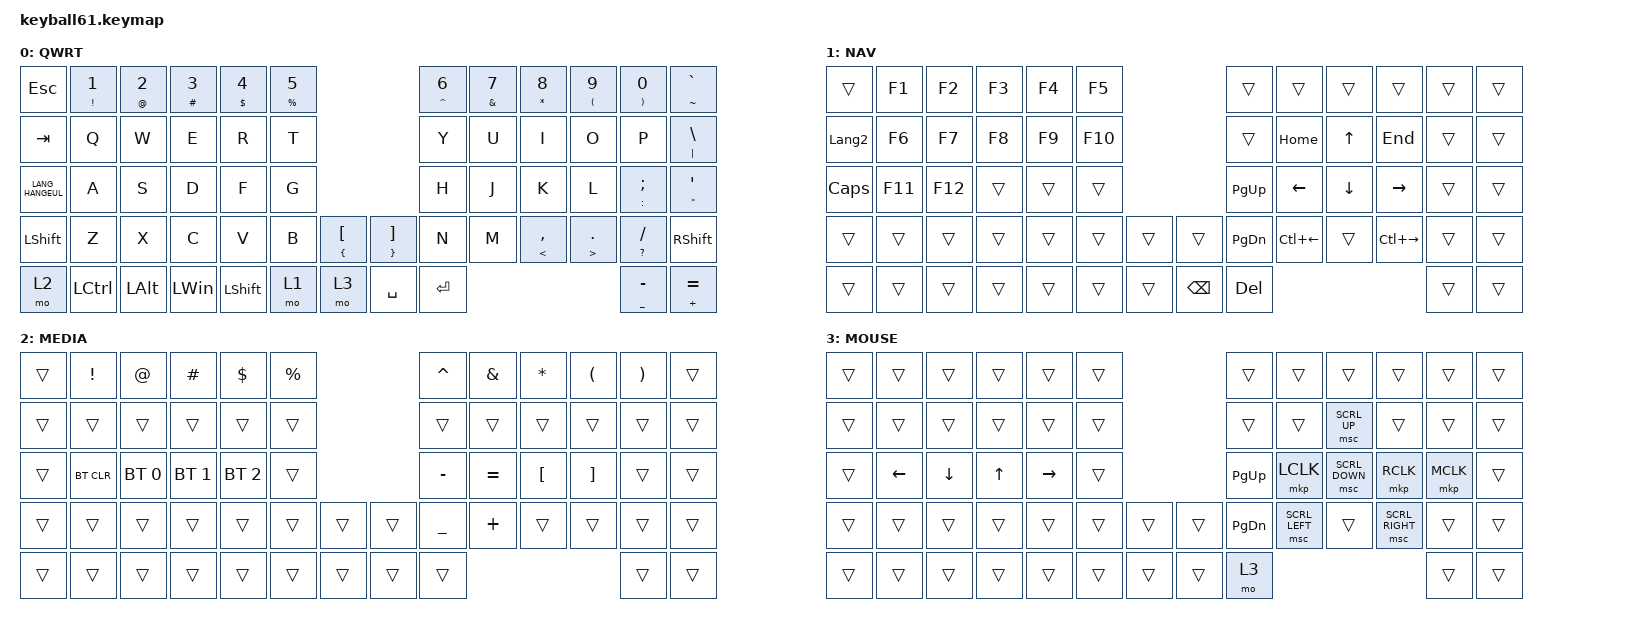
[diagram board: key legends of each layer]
#define DEFAULT 0
#define NAV     1
#define MEDIA   2
#define MOUSE   3

#include <behaviors/mouse_keys.dtsi>
#include <dt-bindings/zmk/mouse.h>
#include <behaviors.dtsi>
#include <dt-bindings/zmk/bt.h>
#include <dt-bindings/zmk/keys.h>
#include <dt-bindings/zmk/pointing.h>

&lt {
    tapping-term-ms = <240>;
    flavor = "balanced";
    quick-tap-ms = <150>;
};

&mt {
    tapping-term-ms = <200>;
    flavor = "tap-preferred";
    quick-tap-ms = <150>;
};

/ {
    combos {
        compatible = "zmk,combos";

        python {
            bindings = <&python>;
            key-positions = <22 18>;
        };

        pymanage {
            bindings = <&pymanage>;
            key-positions = <22 45>;
        };

        make_migrations {
            bindings = <&make_migrations>;
            key-positions = <45 29>;
        };

        run_migrate {
            bindings = <&run_migration>;
            key-positions = <45 29 16>;
        };

        runserver {
            bindings = <&runserver>;
            key-positions = <16 26>;
        };

        restart_server {
            bindings = <&restart_server>;
            key-positions = <16 17 26>;
        };

        toggle_lang {
            bindings = <&kp LANG_HANGEUL>;
            key-positions = <59 60>;
        };
    };

    macros {
        python: python {
            compatible = "zmk,behavior-macro";
            #binding-cells = <0>;
            bindings = <&kp P &kp Y &kp T &kp H &kp O &kp N &kp SPACE>;
            label = "PYTHON";
        };

        pymanage: pymanage {
            compatible = "zmk,behavior-macro";
            #binding-cells = <0>;
            bindings = <&kp P &kp Y &kp T &kp H &kp O &kp N &kp SPACE &kp M &kp A &kp N &kp A &kp G &kp E &kp DOT &kp P &kp Y &kp SPACE>;
            label = "PYMANAGE";
        };

        make_migrations: make_migrations {
            compatible = "zmk,behavior-macro";
            #binding-cells = <0>;
            bindings = <&kp P &kp Y &kp T &kp H &kp O &kp N &kp SPACE &kp M &kp A &kp N &kp A &kp G &kp E &kp DOT &kp P &kp Y &kp SPACE &kp M &kp A &kp K &kp E &kp M &kp I &kp G &kp R &kp A &kp T &kp I &kp O &kp N &kp S>;
            label = "MAKE_MIGRATIONS";
        };

        run_migration: run_migration {
            compatible = "zmk,behavior-macro";
            #binding-cells = <0>;
            bindings = <&kp P &kp Y &kp T &kp H &kp O &kp N &kp SPACE &kp M &kp A &kp N &kp A &kp G &kp E &kp DOT &kp P &kp Y &kp SPACE &kp M &kp I &kp G &kp R &kp A &kp T &kp E>;
            label = "RUN_MIGRATION";
        };

        runserver: runserver {
            compatible = "zmk,behavior-macro";
            #binding-cells = <0>;
            bindings = <&kp P &kp Y &kp T &kp H &kp O &kp N &kp SPACE &kp M &kp A &kp N &kp A &kp G &kp E &kp DOT &kp P &kp Y &kp SPACE &kp R &kp U &kp N &kp S &kp E &kp R &kp V &kp E &kp R &kp SPACE>;
            label = "RUNSERVER";
        };

        restart_server: restart_server {
            compatible = "zmk,behavior-macro";
            #binding-cells = <0>;
            bindings = <&kp S &kp U &kp D &kp O &kp SPACE &kp S &kp Y &kp S &kp T &kp E &kp M &kp C &kp T &kp L &kp SPACE &kp R &kp E &kp S &kp T &kp A &kp R &kp T &kp SPACE>;
            label = "RESTART_SERVER";
        };
    };

    keymap {
        compatible = "zmk,keymap";

        default_layer {
            label = "QWRT";
            bindings = <
&kp ESC           &mt EXCL N1  &mt AT N2     &mt HASH N3   &mt DOLLAR N4   &mt PERCENT N5                                                              &mt CARET N6  &mt AMPS N7  &mt ASTRK N8         &mt LEFT_PARENTHESIS N9  &mt RIGHT_PARENTHESIS N0  &mt TILDE GRAVE
&kp TAB           &kp Q        &kp W         &kp E         &kp R           &kp T                                                                       &kp Y         &kp U        &kp I                &kp O                    &kp P                     &mt PIPE BACKSLASH
&kp LANG_HANGEUL  &kp A        &kp S         &kp D         &kp F           &kp G                                                                       &kp H         &kp J        &kp K                &kp L                    &mt COLON SEMI            &mt DOUBLE_QUOTES SQT
&kp LEFT_SHIFT    &kp Z        &kp X         &kp C         &kp V           &kp B           &mt LEFT_BRACE LEFT_BRACKET  &mt RIGHT_BRACE RIGHT_BRACKET  &kp N         &kp M        &mt LESS_THAN COMMA  &mt GREATER_THAN DOT     &mt QMARK FSLH            &kp RIGHT_SHIFT
&mo 2             &kp LCTRL    &kp LEFT_ALT  &kp LEFT_WIN  &kp LEFT_SHIFT  &mo 1           &mo 3                        &kp SPACE                      &kp ENTER                                                                &mt UNDER MINUS           &mt PLUS EQUAL
            >;
        };

        navigation_layer {
            bindings = <
&trans          &kp F1   &kp F2   &kp F3  &kp F4  &kp F5                          &trans         &trans        &trans        &trans         &trans  &trans
&kp LANGUAGE_2  &kp F6   &kp F7   &kp F8  &kp F9  &kp F10                         &trans         &kp HOME      &kp UP_ARROW  &kp END        &trans  &trans
&kp CAPS        &kp F11  &kp F12  &trans  &trans  &trans                          &kp PAGE_UP    &kp LEFT      &kp DOWN      &kp RIGHT      &trans  &trans
&trans          &trans   &trans   &trans  &trans  &trans   &trans  &trans         &kp PAGE_DOWN  &kp LC(LEFT)  &trans        &kp LC(RIGHT)  &trans  &trans
&trans          &trans   &trans   &trans  &trans  &trans   &trans  &kp BACKSPACE  &kp DEL                                                   &trans  &trans
            >;

            label = "NAV";
        };

        media_layer {
            label = "MEDIA";
            bindings = <
&trans  &kp EXCLAMATION  &kp AT_SIGN   &kp HASH      &kp DOLLAR    &kp PERCENT                  &kp CARET       &kp AMPERSAND  &kp ASTERISK      &kp LEFT_PARENTHESIS  &kp RIGHT_PARENTHESIS  &trans
&trans  &trans           &trans        &trans        &trans        &trans                       &trans          &trans         &trans            &trans                &trans                 &trans
&trans  &bt BT_CLR       &bt BT_SEL 0  &bt BT_SEL 1  &bt BT_SEL 2  &trans                       &kp MINUS       &kp EQUAL      &kp LEFT_BRACKET  &kp RIGHT_BRACKET     &trans                 &trans
&trans  &trans           &trans        &trans        &trans        &trans       &trans  &trans  &kp UNDERSCORE  &kp PLUS       &trans            &trans                &trans                 &trans
&trans  &trans           &trans        &trans        &trans        &trans       &trans  &trans  &trans                                                                 &trans                 &trans
            >;
        };

        mouse_layer {
            label = "MOUSE";
            bindings = <
&trans  &trans    &trans    &trans  &trans     &trans                  &trans         &trans          &trans          &trans           &trans     &trans
&trans  &trans    &trans    &trans  &trans     &trans                  &trans         &trans          &msc SCRL_UP    &trans           &trans     &trans
&trans  &kp LEFT  &kp DOWN  &kp UP  &kp RIGHT  &trans                  &kp PAGE_UP    &mkp LCLK       &msc SCRL_DOWN  &mkp RCLK        &mkp MCLK  &trans
&trans  &trans    &trans    &trans  &trans     &trans  &trans  &trans  &kp PAGE_DOWN  &msc SCRL_LEFT  &trans          &msc SCRL_RIGHT  &trans     &trans
&trans  &trans    &trans    &trans  &trans     &trans  &trans  &trans  &mo 3                                                           &trans     &trans
            >;
        };
    };
};
